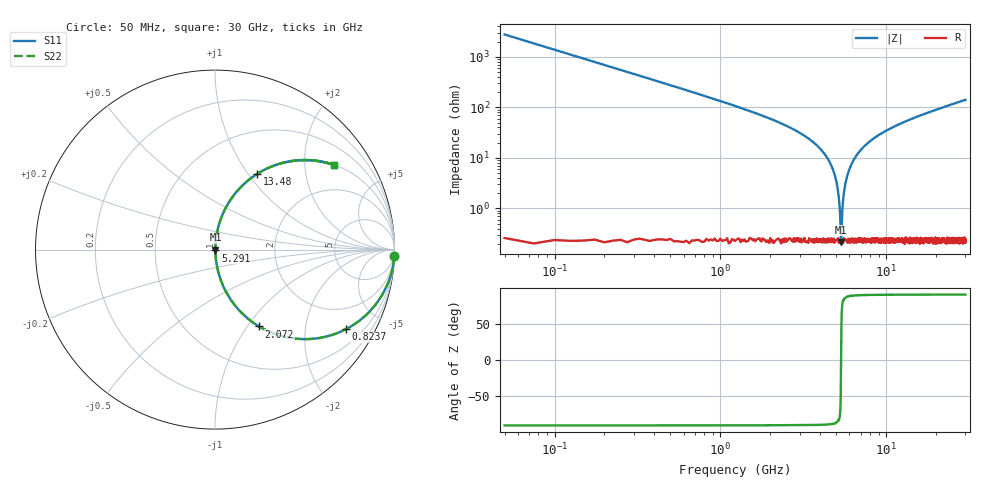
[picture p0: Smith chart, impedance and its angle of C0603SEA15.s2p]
!	AVX Thin Film Operation 	Date: April 2014
!	Description: Accu-P® Series, Thin Film  SMD RF Capacitor
!	Part Number: 06031JA15PBSTR
# MHZ S MA R 50
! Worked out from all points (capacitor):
!   1201 points, 50 MHz to 30 GHz, reference 50 ohm
!   read as one part in series: C = 1.15 pF near 199.8 MHz
!   lowest |Z| = 217 mohm at 5.341 GHz (marker M1)
!   series resonance near 5.341 GHz, so ESL is about 770 pH
!   S11 on the Smith chart (normalised r, x): 50 MHz: 2, -55; 823.7 MHz: 1.01, -3.28; 2.072 GHz: 1.00, -1.14; 5.291 GHz: 1.00, -0.01; 13.48 GHz: 1.00, +1.10; 30 GHz: 1.00, +2.82
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50  0.999 -2.1  0.036 87.9  0.036 87.9  0.999 -2.1
349.5  0.969 -14.2  0.246 75.7  0.246 75.7  0.969 -14.2
823.708  0.853 -31.3  0.52 58.6  0.52 58.6  0.853 -31.3
1322.875  0.7 -45.5  0.713 44.4  0.713 44.4  0.7 -45.5
2071.625  0.493 -60.2  0.868 29.5  0.868 29.5  0.493 -60.2
4143.167  0.132 -81.4  0.989 7.6  0.989 7.6  0.132 -81.4
4692.25  0.067 -84.2  0.995 3.8  0.995 3.8  0.067 -84.2
5041.667  0.03 -83.8  0.997 1.7  0.997 1.7  0.03 -83.8
5291.25  0.005411 -64.3  0.998 0.3  0.998 0.3  0.005411 -64.3
5341.167  0.002325 -0.8  0.998 0.0  0.998 0.0  0.002325 -0.8
5441  0.009822 75.8  0.998 -0.5  0.998 -0.5  0.009822 75.8
5590.75  0.024 83.0  0.997 -1.4  0.997 -1.4  0.024 83.0
5765.458  0.04 84.4  0.997 -2.3  0.997 -2.3  0.04 84.4
6040  0.064 84.3  0.996 -3.6  0.996 -3.6  0.064 84.3
6464.292  0.099 83.0  0.993 -5.7  0.993 -5.7  0.099 83.0
7861.958  0.201 77.8  0.977 -11.6  0.977 -11.6  0.201 77.8
10058.29  0.33 70.4  0.942 -19.3  0.942 -19.3  0.33 70.4
13477.58  0.482 61.0  0.874 -28.8  0.874 -28.8  0.482 61.0
15025  0.536 57.4  0.842 -32.4  0.842 -32.4  0.536 57.4
20016.67  0.669 47.9  0.742 -42.0  0.742 -42.0  0.669 47.9
25033.29  0.756 40.7  0.653 -49.1  0.653 -49.1  0.756 40.7
30000  0.815 35.3  0.578 -54.6  0.578 -54.6  0.815 35.3
